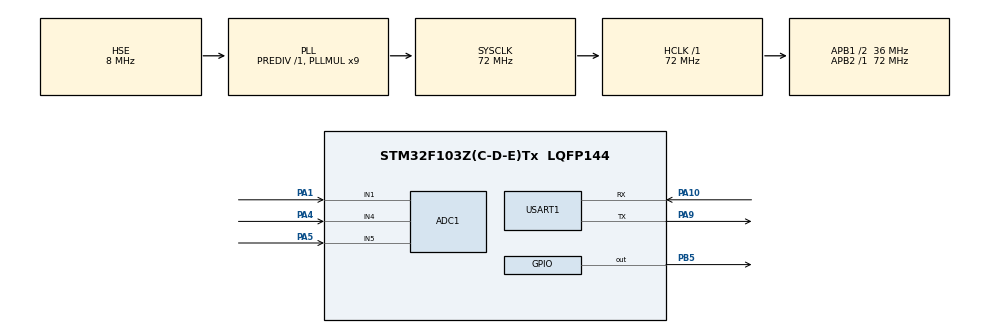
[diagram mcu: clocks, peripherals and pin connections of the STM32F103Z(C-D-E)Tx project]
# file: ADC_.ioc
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ADC1.Channel-10\#ChannelRegularConversion=ADC_CHANNEL_5
ADC1.Channel-11\#ChannelRegularConversion=ADC_CHANNEL_TEMPSENSOR
ADC1.Channel-12\#ChannelRegularConversion=ADC_CHANNEL_VREFINT
ADC1.Channel-5\#ChannelRegularConversion=ADC_CHANNEL_1
ADC1.Channel-6\#ChannelRegularConversion=ADC_CHANNEL_4
ADC1.ContinuousConvMode=ENABLE
ADC1.DiscontinuousConvMode=DISABLE
ADC1.EnableInjectedConversion=DISABLE
ADC1.EnableRegularConversion=ENABLE
ADC1.NbrOfConversion=5
ADC1.NbrOfConversionFlag=1
ADC1.Rank-10\#ChannelRegularConversion=3
ADC1.Rank-11\#ChannelRegularConversion=4
ADC1.Rank-12\#ChannelRegularConversion=5
ADC1.Rank-5\#ChannelRegularConversion=1
ADC1.Rank-6\#ChannelRegularConversion=2
ADC1.SamplingTime-10\#ChannelRegularConversion=ADC_SAMPLETIME_1CYCLE_5
ADC1.SamplingTime-11\#ChannelRegularConversion=ADC_SAMPLETIME_1CYCLE_5
ADC1.SamplingTime-12\#ChannelRegularConversion=ADC_SAMPLETIME_1CYCLE_5
ADC1.SamplingTime-5\#ChannelRegularConversion=ADC_SAMPLETIME_1CYCLE_5
ADC1.SamplingTime-6\#ChannelRegularConversion=ADC_SAMPLETIME_1CYCLE_5
ADC1.master=1
Mcu.Family=STM32F1
Mcu.Name=STM32F103Z(C-D-E)Tx
Mcu.Package=LQFP144
NVIC.ADC1_2_IRQn=true\:0\:0\:true\:false\:true\:true\:true\:true
NVIC.PriorityGroup=NVIC_PRIORITYGROUP_4
NVIC.RCC_IRQn=true\:0\:0\:false\:false\:true\:true\:false\:true
NVIC.USART1_IRQn=true\:4\:0\:true\:false\:true\:true\:true\:true
OSC_IN.Mode=HSE-External-Oscillator
OSC_IN.Signal=RCC_OSC_IN
OSC_OUT.Mode=HSE-External-Oscillator
OSC_OUT.Signal=RCC_OSC_OUT
PA1.Signal=ADCx_IN1
PA10.GPIO_Mode=GPIO_MODE_INPUT
PA10.Mode=Asynchronous
PA10.Signal=USART1_RX
PA4.Signal=ADCx_IN4
PA5.Signal=ADCx_IN5
PA9.GPIO_Mode=GPIO_MODE_AF_PP
PA9.Mode=Asynchronous
PA9.Signal=USART1_TX
PB5.GPIO_Speed=GPIO_SPEED_FREQ_HIGH
PB5.PinState=GPIO_PIN_RESET
PB5.Signal=GPIO_Output
ProjectManager.HeapSize=0x200
ProjectManager.StackSize=0x400
ProjectManager.TargetToolchain=MDK-ARM V5.32
RCC.ADCPresc=RCC_ADCPCLK2_DIV6
RCC.AHBFreq_Value=72000000
RCC.APB1CLKDivider=RCC_HCLK_DIV2
RCC.APB1Freq_Value=36000000
RCC.APB1TimFreq_Value=72000000
RCC.APB2Freq_Value=72000000
RCC.APB2TimFreq_Value=72000000
RCC.EnbaleCSS=true
RCC.HCLKFreq_Value=72000000
RCC.PLLMUL=RCC_PLL_MUL9
RCC.PLLSourceVirtual=RCC_PLLSOURCE_HSE
RCC.SYSCLKFreq_VALUE=72000000
RCC.SYSCLKSource=RCC_SYSCLKSOURCE_PLLCLK
RCC.USBFreq_Value=72000000
SH.ADCx_IN1.0=ADC1_IN1,IN1
SH.ADCx_IN4.0=ADC1_IN4,IN4
SH.ADCx_IN5.0=ADC1_IN5,IN5
USART1.VirtualMode=VM_ASYNC
VP_ADC1_TempSens_Input.Mode=IN-TempSens
VP_ADC1_Vref_Input.Mode=IN-Vrefint
VP_SYS_VS_ND.Mode=No_Debug
board=custom

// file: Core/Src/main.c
/* USER CODE BEGIN Header */
/**
  ******************************************************************************
  * @file           : main.c
  * @brief          : Main program body
  ******************************************************************************
  * @attention
  *
  * Copyright (c) 2024 STMicroelectronics.
  * All rights reserved.
  *
  * This software is licensed under terms that can be found in the LICENSE file
  * in the root directory of this software component.
  * If no LICENSE file comes with this software, it is provided AS-IS.
  *
  ******************************************************************************
  */
/* USER CODE END Header */
#include "main.h"
#include "adc.h"
#include "usart.h"
#include "gpio.h"

/* USER CODE BEGIN Includes */

#include <stdio.h>
#include <string.h>

#include "bsp_adc\bsp_adc.h"

/* USER CODE END Includes */

/* USER CODE BEGIN PTD */
#define VALUE_MAX_LONG 5
uint32_t GetADC_Value[VALUE_MAX_LONG] = {0};
uint8_t GetADC_Value_Flag = 0;

float Vout_value;
float Temp_Value;

/* USER CODE END PTD */

/* USER CODE BEGIN PV */

int fputc(int ch,FILE *f)

{

	HAL_UART_Transmit(&huart1,(uint8_t *)&ch,1,HAL_MAX_DELAY);

	return ch;

}

/* USER CODE END PV */

void SystemClock_Config(void);

int main(void)
{

  /* MCU Configuration--------------------------------------------------------*/

  /* Reset of all peripherals, Initializes the Flash interface and the Systick. */
  HAL_Init();

  /* Configure the system clock */
  SystemClock_Config();

  /* Initialize all configured peripherals */
  MX_GPIO_Init();
  MX_ADC1_Init();
  MX_USART1_UART_Init();
  /* USER CODE BEGIN 2 */
	printf("STM\r\n");
	HAL_ADCEx_Calibration_Start(&hadc1);
	HAL_ADC_Start_IT(&hadc1);
  /* USER CODE END 2 */

  /* Infinite loop */
  /* USER CODE BEGIN WHILE */
  while (1)
  {

		Vout_value = GetADC_Value[3] / 4096.0 * 3.3;
		Temp_Value = (1.43 - GetADC_Value[4] *3.3f / 4096) /0.0043 + 25;

		printf("ADC PA1 read value : %d \r\n",GetADC_Value[0]);
		printf("ADC PA4 read value : %d \r\n",GetADC_Value[1]);
		printf("ADC PA5 read value : %d \r\n",GetADC_Value[2]);
		printf("change voltage value : %.2f \r\n",Vout_value);
		printf("change Temp value : %.4f \r\n",Temp_Value);
		printf("\r\n");
		printf("\r\n");
		HAL_GPIO_TogglePin(GPIOB,GPIO_PIN_5);
		HAL_Delay(1000);

    /* USER CODE END WHILE */

  }
}

void SystemClock_Config(void)
{
  RCC_OscInitTypeDef RCC_OscInitStruct = {0};
  RCC_ClkInitTypeDef RCC_ClkInitStruct = {0};
  RCC_PeriphCLKInitTypeDef PeriphClkInit = {0};

  /** Initializes the RCC Oscillators according to the specified parameters
  * in the RCC_OscInitTypeDef structure.
  */
  RCC_OscInitStruct.OscillatorType = RCC_OSCILLATORTYPE_HSE;
  RCC_OscInitStruct.HSEState = RCC_HSE_ON;
  RCC_OscInitStruct.HSEPredivValue = RCC_HSE_PREDIV_DIV1;
  RCC_OscInitStruct.HSIState = RCC_HSI_ON;
  RCC_OscInitStruct.PLL.PLLState = RCC_PLL_ON;
  RCC_OscInitStruct.PLL.PLLSource = RCC_PLLSOURCE_HSE;
  RCC_OscInitStruct.PLL.PLLMUL = RCC_PLL_MUL9;
  if (HAL_RCC_OscConfig(&RCC_OscInitStruct) != HAL_OK)
  {
    Error_Handler();
  }

  /** Initializes the CPU, AHB and APB buses clocks
  */
  RCC_ClkInitStruct.ClockType = RCC_CLOCKTYPE_HCLK|RCC_CLOCKTYPE_SYSCLK
                              |RCC_CLOCKTYPE_PCLK1|RCC_CLOCKTYPE_PCLK2;
  RCC_ClkInitStruct.SYSCLKSource = RCC_SYSCLKSOURCE_PLLCLK;
  RCC_ClkInitStruct.AHBCLKDivider = RCC_SYSCLK_DIV1;
  RCC_ClkInitStruct.APB1CLKDivider = RCC_HCLK_DIV2;
  RCC_ClkInitStruct.APB2CLKDivider = RCC_HCLK_DIV1;

  if (HAL_RCC_ClockConfig(&RCC_ClkInitStruct, FLASH_LATENCY_2) != HAL_OK)
  {
    Error_Handler();
  }
  PeriphClkInit.PeriphClockSelection = RCC_PERIPHCLK_ADC;
  PeriphClkInit.AdcClockSelection = RCC_ADCPCLK2_DIV6;
  if (HAL_RCCEx_PeriphCLKConfig(&PeriphClkInit) != HAL_OK)
  {
    Error_Handler();
  }

  /** Enables the Clock Security System
  */
  HAL_RCC_EnableCSS();
}

/* USER CODE BEGIN 4 */

void HAL_ADC_ConvCpltCallback(ADC_HandleTypeDef* hadc)
{
	if(HAL_IS_BIT_CLR(HAL_ADC_GetState(&hadc1), HAL_ADC_STATE_REG_EOC))
	{

		GetADC_Value[GetADC_Value_Flag++] = HAL_ADC_GetValue(&hadc1);

		if(GetADC_Value_Flag == 5)
		{
			GetADC_Value_Flag = 0;
		}

	}

}

/* USER CODE END 4 */

void Error_Handler(void)
{
  __disable_irq();
  while (1)
  {
  }
}
